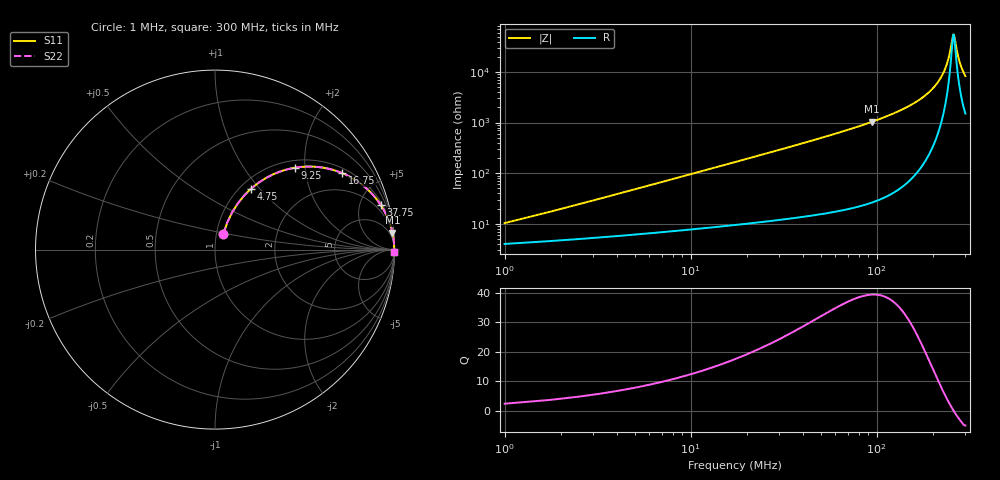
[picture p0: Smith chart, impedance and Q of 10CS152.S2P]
! Coilcraft 1008CS-152 Chip Inductor
! 02 July 2002
# MHZ S MA R 50
!Freq  MagS11  AngS11  MagS21  AngS21  MagS12  AngS12  MagS22  AngS22
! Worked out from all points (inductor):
!   400 points, 1 MHz to 300 MHz, reference 50 ohm
!   read as one part in series: L = 1.51 uH near 2.5 MHz
!   highest Q = 39.4 at 94.75 MHz (marker M1), where L = 1.75 uH
!   self-resonance near 259 MHz
!   S11 on the Smith chart (normalised r, x): 1 MHz: 1.08, +0.19; 4.75 MHz: 1.12, +0.90; 9.25 MHz: 1.15, +1.76; 16.75 MHz: 1.19, +3.20; 37.75 MHz: 1.27, +7.34; 300 MHz: open
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1  0.0989 61.9  0.9574 -5.2  0.9574 -5.2  0.0989 61.9
1.75  0.1631 65.6  0.9445 -9.1  0.9445 -9.1  0.1631 65.6
2.5  0.2259 65.4  0.9288 -12.8  0.9288 -12.8  0.2259 65.4
4.75  0.3958 59.3  0.8675 -23.1  0.8675 -23.1  0.3958 59.3
9.25  0.6364 45.8  0.7192 -39.4  0.7192 -39.4  0.6364 45.8
16.75  0.8272 31.0  0.5157 -55.7  0.5157 -55.7  0.8272 31.0
25  0.9087 22.2  0.3779 -65.2  0.3779 -65.2  0.9087 22.2
37.75  0.9562 15.1  0.2603 -72.8  0.2603 -72.8  0.9562 15.1
51.25  0.9755 11.1  0.192 -77.2  0.192 -77.2  0.9755 11.1
94.75  0.993 5.5  0.09536 -83.1  0.09536 -83.1  0.993 5.5
100.75  0.9939 5.0  0.08796 -83.5  0.08796 -83.5  0.9939 5.0
151  0.9974 2.6  0.04585 -85.5  0.04585 -85.5  0.9974 2.6
200.5  0.9983 1.2  0.02106 -84.7  0.02106 -84.7  0.9983 1.2
218.5  0.9983 0.8  0.01398 -82.8  0.01398 -82.8  0.9983 0.8
232  0.9983 0.5  0.009141 -79.2  0.009141 -79.2  0.9983 0.5
242.5  0.9983 0.3  0.005662 -72.3  0.005662 -72.3  0.9983 0.3
250.75  0.9982 0.2  0.003214 -56.9  0.003214 -56.9  0.9982 0.2
256.75  0.9982 0.0  0.001958 -23.6  0.001958 -23.6  0.9982 0.0
259.75  0.9982 -0.0  0.001823 4.8  0.001823 4.8  0.9982 -0.0
277.75  0.998 -0.3  0.005906 70.2  0.005906 70.2  0.998 -0.3
287.5  0.9979 -0.5  0.008613 75.7  0.008613 75.7  0.9979 -0.5
300  0.9977 -0.7  0.01202 78.8  0.01202 78.8  0.9977 -0.7
